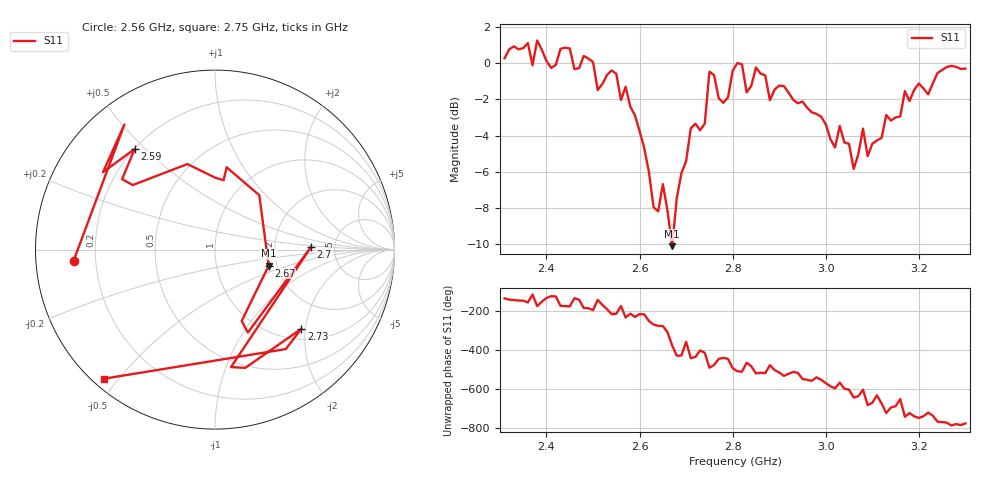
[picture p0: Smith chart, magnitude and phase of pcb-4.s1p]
# HZ S RI R 50
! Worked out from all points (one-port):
!   100 points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, 2.31 GHz to 3.3 GHz, reference 50 ohm
!   lowest |S11| = -10.1 dB at 2.67 GHz (marker M1), VSWR 1.91, Z = 90.4 - j18 ohm
!   |S11| at or under -10 dB: 2.669433 GHz to 2.670414 GHz (980.9 kHz wide, 0.0367 % of centre)
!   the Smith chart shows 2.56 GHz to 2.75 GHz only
!   S11 on the Smith chart (normalised r, x): 2.56 GHz: 0.12, -0.04; 2.59 GHz: 0.20, +0.46; 2.67 GHz: 1.81, -0.36; 2.7 GHz: 3.30, +0.15; 2.73 GHz: 1.24, -1.90; 2.75 GHz: 0.03, -0.46
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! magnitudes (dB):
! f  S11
! 2.31 GHz  0.3
! 2.44 GHz  0.9
! 2.5 GHz  0.1
! 2.51 GHz  -1.5
! 2.55 GHz  -0.6
! 2.56 GHz  -2.0
! 2.59 GHz  -2.9
! 2.63 GHz  -8.0
! 2.65 GHz  -6.7
! 2.67 GHz  -10.1
! 2.69 GHz  -6.1
! 2.7 GHz  -5.4
! 2.71 GHz  -3.6
! 2.73 GHz  -3.7
! 2.74 GHz  -3.3
! 2.75 GHz  -0.5
! 2.78 GHz  -2.2
! 2.81 GHz  0.0
! 2.83 GHz  -1.6
! 2.85 GHz  -0.2
! 2.93 GHz  -2.0
! 3.02 GHz  -4.7
! 3.03 GHz  -3.5
! 3.06 GHz  -5.8
! 3.08 GHz  -3.6
! 3.09 GHz  -5.1
! 3.18 GHz  -2.1
! 3.3 GHz  -0.3
